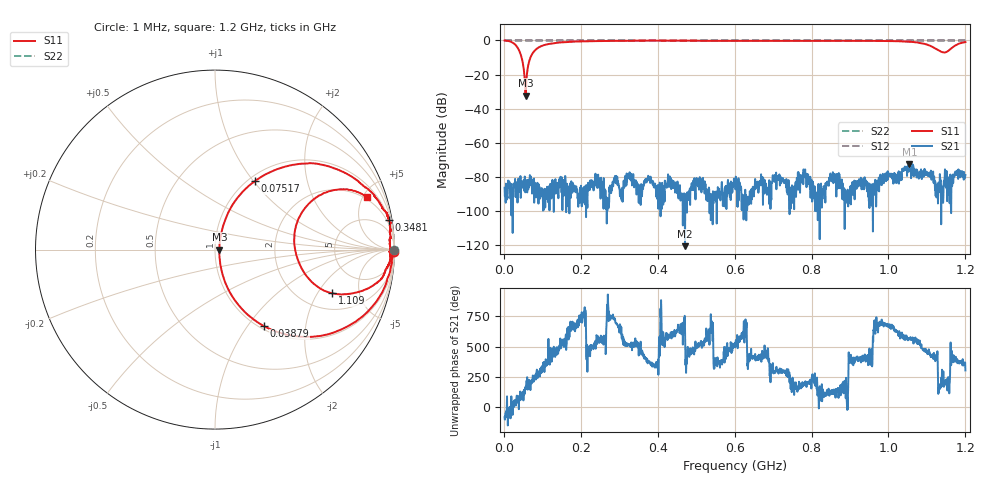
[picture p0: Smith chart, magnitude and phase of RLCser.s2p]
! Anritsu VNA Master:  Model: MS2025B
! SN:  1642059
! /bd0/PROE/TP1/P2/RLCser.s2p
! Existing Calibration Information:
! TYPE:  Current Settings,  Active Cal Settings
! TIME:  04/23/2024 08:46:29 AM,  03/12/2018 11:45:53 AM
! INTERNAL TEMP:  43.0 C,  40.8 C
! # POINTS:  1715,  4001
! START FREQ:  1.000 MHz,  1.000 MHz
! STOP FREQ:  1.200 371 500 GHz,  2.800 GHz
! SOURCE POWER:  Default,  Default
! IFBW:  1 kHz,  1 kHz
! AVG FACTOR:  1 ,  1
! REF PLANE 1:  0 mm,  0 mm
! REF PLANE 2:  0 mm,  0 mm
! CAL TYPE:  1P2P S11,S21,  1P2P S11,S21
! CAL METHOD:  SOLT,  SOLT
! CAL LINE TYPE:  Coax,  Coax
! DUT PORT 1:  ,
! DUT PORT 2:  N-Conn(M),  N-Conn(M)
! CAL STATUS:  OK: Accuracy High,  --
# GHZ S MA R 50.0
! FREQ.GHZ  S11M  S11A  S21M  S21A  S12M  S12A  S22M  S22A
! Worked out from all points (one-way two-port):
!   1715 points, 1 MHz to 1.2 GHz, reference 50 ohm
!   highest |S21| = -72.62 dB at 1.055 GHz (marker M1); lowest = -120.8 dB at 470.5 MHz (marker M2)
!   lowest |S11| = -32.3 dB at 55.58 MHz (marker M3), VSWR 1.05, Z = 52.5 + j0.0581 ohm
!   |S11| at or under -10 dB: 45.2 MHz to 68.32 MHz (23.12 MHz wide, 40.7 % of centre)
!   |S22| runs from 0.0 to 0.0 dB; largest |S21 - S12| = 1
!   S11 on the Smith chart (normalised r, x): 1 MHz: open; 38.79 MHz: 1.05, -1.20; 75.17 MHz: 1.07, +1.01; 348.1 MHz: 1, +12; 1.109 GHz: 2.86, -2.71; 1.2 GHz: 1.81, +5.32
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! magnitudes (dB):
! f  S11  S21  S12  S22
! 1 MHz  0.0  -86.5  0.0  0.0
! 24.09 MHz  -1.6  -84.5  0.0  0.0
! 38.79 MHz  -5.9  -84.7  0.0  0.0
! 45.08 MHz  -9.9  -86.8  0.0  0.0
! 55.58 MHz  -32.3  -82.6  0.0  0.0
! 59.08 MHz  -19.8  -82.0  0.0  0.0
! 66.78 MHz  -10.9  -79.0  0.0  0.0
! 75.17 MHz  -7.1  -83.9  0.0  0.0
! 109.5 MHz  -2.4  -88.7  0.0  0.0
! 201.1 MHz  -0.6  -93.5  0.0  0.0
! 348.1 MHz  -0.1  -89.1  0.0  0.0
! 401.3 MHz  -0.1  -98.8  0.0  0.0
! 470.5 MHz  -0.1  -120.8  0.0  0.0
! 600.7 MHz  -0.2  -83.6  0.0  0.0
! 800.8 MHz  -0.2  -82.4  0.0  0.0
! 1.001 GHz  -0.4  -78.0  0.0  0.0
! 1.025 GHz  -0.4  -82.6  0.0  0.0
! 1.055 GHz  -0.8  -72.6  0.0  0.0
! 1.084 GHz  -1.5  -77.4  0.0  0.0
! 1.109 GHz  -3.1  -78.2  0.0  0.0
! 1.146 GHz  -7.1  -80.2  0.0  0.0
! 1.2 GHz  -1.0  -79.0  0.0  0.0
